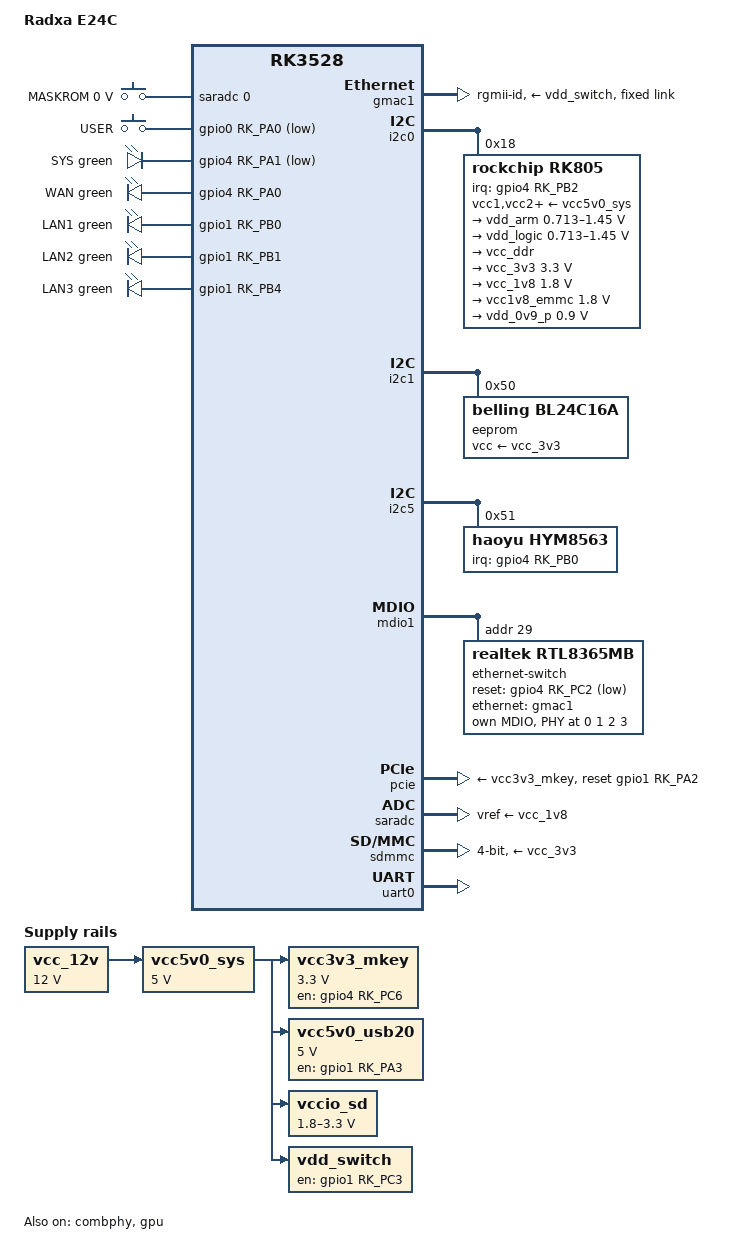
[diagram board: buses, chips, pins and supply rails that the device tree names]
// SPDX-License-Identifier: (GPL-2.0+ OR MIT)

/dts-v1/;

#include <dt-bindings/input/input.h>
#include <dt-bindings/leds/common.h>
#include "rk3528.dtsi"

/ {
	model = "Radxa E24C";
	compatible = "radxa,e24c", "rockchip,rk3528";

	aliases {
		ethernet0 = &gmac1;
		i2c0 = &i2c0;
		i2c1 = &i2c1;
		i2c5 = &i2c5;
		mmc0 = &sdhci;
		mmc1 = &sdmmc;
		rtc0 = &hym8563;
		rtc1 = &rk805;
		serial0 = &uart0;
	};

	chosen {
		stdout-path = "serial0:1500000n8";
	};

	adc-keys {
		compatible = "adc-keys";
		io-channels = <&saradc 0>;
		io-channel-names = "buttons";
		keyup-threshold-microvolt = <1800000>;
		poll-interval = <100>;

		button-maskrom {
			label = "MASKROM";
			linux,code = <KEY_SETUP>;
			press-threshold-microvolt = <0>;
		};
	};

	gpio-keys {
		compatible = "gpio-keys";
		pinctrl-names = "default";
		pinctrl-0 = <&gpio0_a0_user>;

		button-user {
			gpios = <&gpio0 RK_PA0 GPIO_ACTIVE_LOW>;
			label = "USER";
			linux,code = <BTN_1>;
			wakeup-source;
		};
	};

	leds {
		compatible = "gpio-leds";

		led-0 {
			color = <LED_COLOR_ID_GREEN>;
			default-state = "on";
			function = LED_FUNCTION_HEARTBEAT;
			gpios = <&gpio4 RK_PA1 GPIO_ACTIVE_LOW>;
			label = "SYS";
			linux,default-trigger = "heartbeat";
			pinctrl-names = "default";
			pinctrl-0 = <&sys_led_g>;
		};

		led-1 {
			color = <LED_COLOR_ID_GREEN>;
			default-state = "off";
			function = LED_FUNCTION_WAN;
			gpios = <&gpio4 RK_PA0 GPIO_ACTIVE_HIGH>;
			label = "WAN";
			linux,default-trigger = "stmmac-0:1d:user_mii:00:link";
			pinctrl-names = "default";
			pinctrl-0 = <&wan_led_g>;
		};

		led-2 {
			color = <LED_COLOR_ID_GREEN>;
			default-state = "off";
			function = LED_FUNCTION_LAN;
			gpios = <&gpio1 RK_PB0 GPIO_ACTIVE_HIGH>;
			label = "LAN1";
			linux,default-trigger = "stmmac-0:1d:user_mii:01:link";
			pinctrl-names = "default";
			pinctrl-0 = <&lan1_led_g>;
		};

		led-3 {
			color = <LED_COLOR_ID_GREEN>;
			default-state = "off";
			function = LED_FUNCTION_LAN;
			gpios = <&gpio1 RK_PB1 GPIO_ACTIVE_HIGH>;
			label = "LAN2";
			linux,default-trigger = "stmmac-0:1d:user_mii:02:link";
			pinctrl-names = "default";
			pinctrl-0 = <&lan2_led_g>;
		};

		led-4 {
			color = <LED_COLOR_ID_GREEN>;
			default-state = "off";
			function = LED_FUNCTION_LAN;
			gpios = <&gpio1 RK_PB4 GPIO_ACTIVE_HIGH>;
			label = "LAN3";
			linux,default-trigger = "stmmac-0:1d:user_mii:03:link";
			pinctrl-names = "default";
			pinctrl-0 = <&lan3_led_g>;
		};
	};

	vcc3v3_mkey: regulator-3v3-vcc-mkey {
		compatible = "regulator-fixed";
		enable-active-high;
		gpios = <&gpio4 RK_PC6 GPIO_ACTIVE_HIGH>;
		pinctrl-names = "default";
		pinctrl-0 = <&mkey_pwr_en>;
		regulator-name = "vcc3v3_mkey";
		regulator-min-microvolt = <3300000>;
		regulator-max-microvolt = <3300000>;
		vin-supply = <&vcc5v0_sys>;
	};

	vcc5v0_sys: regulator-5v0-vcc-sys {
		compatible = "regulator-fixed";
		regulator-name = "vcc5v0_sys";
		regulator-always-on;
		regulator-boot-on;
		regulator-min-microvolt = <5000000>;
		regulator-max-microvolt = <5000000>;
		vin-supply = <&vcc_12v>;
	};

	vcc5v0_usb20: regulator-5v0-vcc-usb20 {
		compatible = "regulator-fixed";
		enable-active-high;
		gpios = <&gpio1 RK_PA3 GPIO_ACTIVE_HIGH>;
		pinctrl-names = "default";
		pinctrl-0 = <&usb_host_en>;
		regulator-name = "vcc5v0_usb20";
		regulator-min-microvolt = <5000000>;
		regulator-max-microvolt = <5000000>;
		vin-supply = <&vcc5v0_sys>;
	};

	vcc_12v: regulator-12v0-vcc {
		compatible = "regulator-fixed";
		regulator-name = "vcc_12v";
		regulator-always-on;
		regulator-boot-on;
		regulator-min-microvolt = <12000000>;
		regulator-max-microvolt = <12000000>;
	};

	vccio_sd: regulator-vccio-sd {
		compatible = "regulator-gpio";
		gpios = <&gpio4 RK_PB6 GPIO_ACTIVE_HIGH>;
		pinctrl-names = "default";
		pinctrl-0 = <&sdmmc_vol_ctrl_h>;
		regulator-name = "vccio_sd";
		regulator-min-microvolt = <1800000>;
		regulator-max-microvolt = <3300000>;
		states = <1800000 0x0>, <3300000 0x1>;
		vin-supply = <&vcc5v0_sys>;
	};

	/* Common enable line for the avdd rails mentioned in the labels */
	vdd_switch: avddl_1v1: avddh_3v3: regulator-vdd-switch {
		compatible = "regulator-fixed";
		enable-active-high;
		gpios = <&gpio1 RK_PC3 GPIO_ACTIVE_HIGH>;
		pinctrl-names = "default";
		pinctrl-0 = <&gpio_8367_en>;
		regulator-name = "vdd_switch";
		startup-delay-us = <10000>;
		vin-supply = <&vcc5v0_sys>;
	};
};

&combphy {
	status = "okay";
};

&cpu0 {
	cpu-supply = <&vdd_arm>;
};

&cpu1 {
	cpu-supply = <&vdd_arm>;
};

&cpu2 {
	cpu-supply = <&vdd_arm>;
};

&cpu3 {
	cpu-supply = <&vdd_arm>;
};

&gmac1 {
	/delete-property/ snps,tso;
	clock_in_out = "output";
	phy-mode = "rgmii-id";
	phy-supply = <&vdd_switch>;
	pinctrl-names = "default";
	pinctrl-0 = <&rgmii_miim>, <&rgmii_tx_bus2>, <&rgmii_rx_bus2>,
		    <&rgmii_rgmii_clk>, <&rgmii_rgmii_bus>;
	status = "okay";

	fixed-link {
		full-duplex;
		pause;
		speed = <1000>;
	};
};

&gpu {
	mali-supply = <&vdd_logic>;
	status = "okay";
};

&i2c0 {
	pinctrl-names = "default";
	pinctrl-0 = <&i2c0m0_xfer>;
	status = "okay";

	rk805: pmic@18 {
		compatible = "rockchip,rk805";
		reg = <0x18>;
		#clock-cells = <0>;
		gpio-controller;
		#gpio-cells = <2>;
		interrupt-parent = <&gpio4>;
		interrupts = <RK_PB2 IRQ_TYPE_LEVEL_LOW>;
		pinctrl-names = "default";
		pinctrl-0 = <&pmic_int>;
		system-power-controller;
		wakeup-source;

		vcc1-supply = <&vcc5v0_sys>;
		vcc2-supply = <&vcc5v0_sys>;
		vcc3-supply = <&vcc5v0_sys>;
		vcc4-supply = <&vcc5v0_sys>;
		vcc5-supply = <&vcc5v0_sys>;
		vcc6-supply = <&vcc5v0_sys>;

		regulators {
			vdd_arm: DCDC_REG1 {
				regulator-name = "vdd_arm";
				regulator-always-on;
				regulator-boot-on;
				regulator-min-microvolt = <712500>;
				regulator-max-microvolt = <1450000>;
				regulator-ramp-delay = <12500>;

				regulator-state-mem {
					regulator-on-in-suspend;
				};
			};

			vdd_logic: DCDC_REG2 {
				regulator-name = "vdd_logic";
				regulator-always-on;
				regulator-boot-on;
				regulator-min-microvolt = <712500>;
				regulator-max-microvolt = <1450000>;
				regulator-ramp-delay = <12500>;

				regulator-state-mem {
					regulator-on-in-suspend;
				};
			};

			vcc_ddr: DCDC_REG3 {
				regulator-name = "vcc_ddr";
				regulator-always-on;
				regulator-boot-on;

				regulator-state-mem {
					regulator-on-in-suspend;
				};
			};

			vcc_3v3: DCDC_REG4 {
				regulator-name = "vcc_3v3";
				regulator-always-on;
				regulator-boot-on;
				regulator-min-microvolt = <3300000>;
				regulator-max-microvolt = <3300000>;

				regulator-state-mem {
					regulator-on-in-suspend;
					regulator-suspend-microvolt = <3300000>;
				};
			};

			vcc_1v8: LDO_REG1 {
				regulator-name = "vcc_1v8";
				regulator-always-on;
				regulator-boot-on;
				regulator-min-microvolt = <1800000>;
				regulator-max-microvolt = <1800000>;

				regulator-state-mem {
					regulator-on-in-suspend;
					regulator-suspend-microvolt = <1800000>;
				};
			};

			vcc1v8_emmc: LDO_REG2 {
				regulator-name = "vcc1v8_emmc";
				regulator-always-on;
				regulator-boot-on;
				regulator-min-microvolt = <1800000>;
				regulator-max-microvolt = <1800000>;

				regulator-state-mem {
					regulator-on-in-suspend;
					regulator-suspend-microvolt = <1800000>;
				};
			};

			vdd_0v9_p: LDO_REG3 {
				regulator-name = "vdd_0v9_p";
				regulator-always-on;
				regulator-boot-on;
				regulator-min-microvolt = <900000>;
				regulator-max-microvolt = <900000>;

				regulator-state-mem {
					regulator-on-in-suspend;
					regulator-suspend-microvolt = <900000>;
				};
			};
		};
	};
};

&i2c1 {
	pinctrl-names = "default";
	pinctrl-0 = <&i2c1m0_xfer>;
	status = "okay";

	eeprom@50 {
		compatible = "belling,bl24c16a", "atmel,24c16";
		reg = <0x50>;
		pagesize = <16>;
		read-only;
		vcc-supply = <&vcc_3v3>;
	};
};

&i2c5 {
	pinctrl-names = "default";
	pinctrl-0 = <&i2c5m0_xfer>;
	status = "okay";

	hym8563: rtc@51 {
		compatible = "haoyu,hym8563";
		reg = <0x51>;
		#clock-cells = <0>;
		interrupt-parent = <&gpio4>;
		interrupts = <RK_PB0 IRQ_TYPE_LEVEL_LOW>;
		pinctrl-names = "default";
		pinctrl-0 = <&rtc_int_l>;
		wakeup-source;
	};
};

&mdio1 {
	ethernet-switch@1d {
		compatible = "realtek,rtl8365mb";
		reg = <0x1d>;
		interrupt-parent = <&switch_intc>;
		pinctrl-names = "default";
		pinctrl-0 = <&gmac1_rstn_l>, <&rtl8367rb_eint>;
		reset-gpios = <&gpio4 RK_PC2 GPIO_ACTIVE_LOW>;

		ethernet-ports {
			#address-cells = <1>;
			#size-cells = <0>;

			ethernet-port@0 {
				reg = <0>;
				label = "wan";
				phy-handle = <&switchphy0>;
			};

			ethernet-port@1 {
				reg = <1>;
				label = "lan1";
				phy-handle = <&switchphy1>;
			};

			ethernet-port@2 {
				reg = <2>;
				label = "lan2";
				phy-handle = <&switchphy2>;
			};

			ethernet-port@3 {
				reg = <3>;
				label = "lan3";
				phy-handle = <&switchphy3>;
			};

			ethernet-port@6 {
				reg = <6>;
				ethernet = <&gmac1>;
				phy-mode = "rgmii";
				rx-internal-delay-ps = <2100>;
				tx-internal-delay-ps = <2000>;

				fixed-link {
					full-duplex;
					pause;
					speed = <1000>;
				};
			};
		};

		switch_intc: interrupt-controller {
			interrupt-parent = <&gpio1>;
			interrupts = <RK_PC2 IRQ_TYPE_LEVEL_LOW>;
			interrupt-controller;
			#address-cells = <0>;
			#interrupt-cells = <1>;
		};

		mdio {
			#address-cells = <1>;
			#size-cells = <0>;

			switchphy0: ethernet-phy@0 {
				reg = <0>;
				interrupts = <0>;
			};

			switchphy1: ethernet-phy@1 {
				reg = <1>;
				interrupts = <1>;
			};

			switchphy2: ethernet-phy@2 {
				reg = <2>;
				interrupts = <2>;
			};

			switchphy3: ethernet-phy@3 {
				reg = <3>;
				interrupts = <3>;
			};
		};
	};
};

&pcie {
	pinctrl-names = "default";
	pinctrl-0 = <&pciem1_pins>;
	reset-gpios = <&gpio1 RK_PA2 GPIO_ACTIVE_HIGH>;
	vpcie3v3-supply = <&vcc3v3_mkey>;
	status = "okay";
};

&pinctrl {
	ethernet {
		gmac1_rstn_l: gmac1-rstn-l {
			rockchip,pins = <4 RK_PC2 RK_FUNC_GPIO &pcfg_pull_none>;
		};

		gpio_8367_en: gpio-8367-en {
			rockchip,pins = <1 RK_PC3 RK_FUNC_GPIO &pcfg_pull_none>;
		};

		rtl8367rb_eint: rtl8367rb-eint {
			rockchip,pins = <1 RK_PC2 RK_FUNC_GPIO &pcfg_pull_up>;
		};
	};

	gpio-keys {
		gpio0_a0_user: gpio0-a0-user {
			rockchip,pins = <0 RK_PA0 RK_FUNC_GPIO &pcfg_pull_up>;
		};
	};

	leds {
		lan1_led_g: lan1-led-g {
			rockchip,pins = <1 RK_PB0 RK_FUNC_GPIO &pcfg_pull_none>;
		};

		lan2_led_g: lan2-led-g {
			rockchip,pins = <1 RK_PB1 RK_FUNC_GPIO &pcfg_pull_none>;
		};

		lan3_led_g: lan3-led-g {
			rockchip,pins = <1 RK_PB4 RK_FUNC_GPIO &pcfg_pull_none>;
		};

		sys_led_g: sys-led-g {
			rockchip,pins = <4 RK_PA1 RK_FUNC_GPIO &pcfg_pull_none>;
		};

		wan_led_g: wan-led-g {
			rockchip,pins = <4 RK_PA0 RK_FUNC_GPIO &pcfg_pull_none>;
		};
	};

	pcie {
		mkey_pwr_en: mkey-pwr-en {
			rockchip,pins = <4 RK_PC6 RK_FUNC_GPIO &pcfg_pull_none>;
		};
	};

	pmic {
		pmic_int: pmic-int {
			rockchip,pins = <4 RK_PB2 RK_FUNC_GPIO &pcfg_pull_up>;
		};
	};

	rtc {
		rtc_int_l: rtc-int-l {
			rockchip,pins = <4 RK_PB0 RK_FUNC_GPIO &pcfg_pull_up>;
		};
	};

	sdmmc {
		sdmmc_vol_ctrl_h: sdmmc-vol-ctrl-h {
			rockchip,pins = <4 RK_PB6 RK_FUNC_GPIO &pcfg_pull_none>;
		};
	};

	usb {
		usb_host_en: usb-host-en {
			rockchip,pins = <1 RK_PA3 RK_FUNC_GPIO &pcfg_pull_none>;
		};
	};
};

&saradc {
	vref-supply = <&vcc_1v8>;
	status = "okay";
};

&sdhci {
	bus-width = <8>;
	cap-mmc-highspeed;
	mmc-hs200-1_8v;
	no-sd;
	no-sdio;
	non-removable;
	vmmc-supply = <&vcc_3v3>;
	vqmmc-supply = <&vcc1v8_emmc>;
	status = "fail";
};

&sdmmc {
	bus-width = <4>;
	cap-mmc-highspeed;
	cap-sd-highspeed;
	disable-wp;
	sd-uhs-sdr104;
	vmmc-supply = <&vcc_3v3>;
	vqmmc-supply = <&vccio_sd>;
	status = "okay";
};

&uart0 {
	pinctrl-names = "default";
	pinctrl-0 = <&uart0m0_xfer>;
	status = "okay";
};
